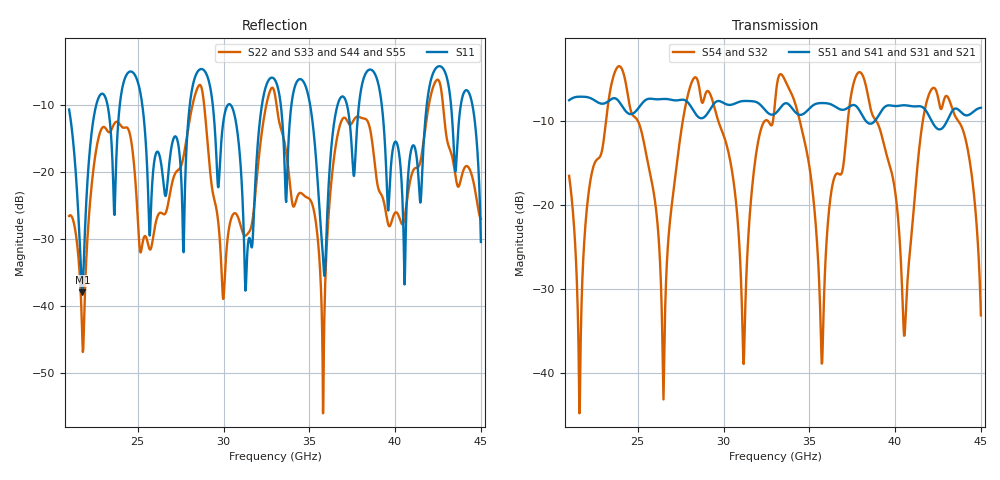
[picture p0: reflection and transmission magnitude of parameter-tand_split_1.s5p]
! Created Mon Jun 10 12:46:52 2024
# hz S ma R 50
! 5 Port Network Data from SP1.SP block
! freq  magS11  angS11  magS12  angS12  magS13  angS13  magS14  angS14
!  magS15  angS15
!  magS21  angS21  magS22  angS22  magS23  angS23
!  magS24  angS24  magS25  angS25
!  magS31  angS31  magS32  angS32
!  magS33  angS33  magS34  angS34  magS35  angS35
!  magS41  angS41
!  magS42  angS42  magS43  angS43  magS44  angS44  magS45  angS45
!  magS51  angS51  magS52  angS52  magS53  angS53  magS54  angS54
!  magS55  angS55
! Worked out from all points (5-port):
!   961 points, 21 GHz to 45 GHz, reference 50 ohm
!   strongest paths, dB at 21 GHz, 27 GHz, 33 GHz, 39 GHz, 45 GHz:
!     S51: -7.6, -7.5, -9.2, -9.5, -8.5
!     S41: -7.6, -7.5, -9.2, -9.5, -8.5
!     S31: -7.6, -7.5, -9.2, -9.5, -8.5
!     S21: -7.6, -7.5, -9.2, -9.5, -8.5
!     S54: -16.6, -19.7, -7.8, -10.4, -33.1
!     S32: -16.6, -19.7, -7.8, -10.4, -33.1
!   lowest |S11| = -37.9 dB at 21.77 GHz (marker M1), VSWR 1.03, Z = 48.8 + j0.411 ohm
!   |S11| at or under -10 dB: 25.26 GHz to 28.03 GHz (2.769 GHz wide, 10.4 % of centre); 30.41 GHz to 32.24 GHz (1.832 GHz wide, 5.85 % of centre); 39.22 GHz to 41.85 GHz (2.624 GHz wide, 6.47 % of centre)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
